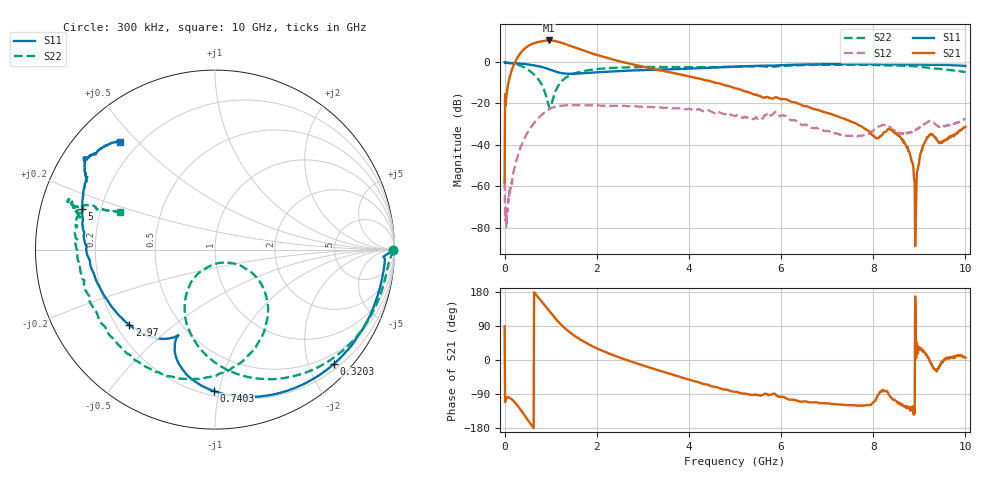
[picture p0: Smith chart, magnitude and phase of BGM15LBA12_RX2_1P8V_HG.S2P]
!Agilent Technologies,E5071C,MY46316587,B.13.01
!Date: Thu Dec 07 14:01:58 2017
!Data & Calibration Information:
!Freq	S11:SOLT2(ON)	S21:SOLT2(ON)	S12:SOLT2(ON)	S22:SOLT2(ON)
!PortZ  Port1:50+j0  Port2:50+j0
!Above PortZ is port z conversion or system Z0 setting when saving the data.
!When reading, reference impedance value at option line is always used.
# Hz S dB R 50
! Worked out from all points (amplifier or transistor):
!   1001 points, 300 kHz to 10 GHz, reference 50 ohm
!   highest |S21| = 10.4 dB at 970.3 MHz (marker M1)
!   |S21| within 3 dB of that: 489.4 MHz to 1.475 GHz (985.2 MHz wide, 100 % of centre)
!   unconditionally stable (mu >= 1): start of sweep to end of sweep
!   at 1.66 GHz: K = 1.42, MAG = 9.5 dB, |S12| = -20.9 dB
!   at 5 GHz: K = 7.20, MAG = -4.9 dB, |S12| = -25.9 dB
!   at 10 GHz: K = 103.83, MAG = -25.1 dB, |S12| = -27.4 dB
!   lowest NFmin = 1.08 dB at 700 MHz
!   S11 on the Smith chart (normalised r, x): 300 kHz: open; 320.3 MHz: 0.30, -2.44; 740.3 MHz: 0.23, -0.96; 2.97 GHz: 0.25, -0.36; 5 GHz: 0.13, +0.15; 10 GHz: 0.13, +0.45
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300000  -0.07 -0.3  -58.16 88.9  -57.82 -160.6  -0.06 -0.2
6.02982e7  -0.49 -8.9  -12.83 -98.7  -72.27 131.9  -0.36 -11.4
2.00294e8  -0.59 -28.1  -1.39 -109.0  -52.06 158.2  -0.79 -36.4
3.202904e8  -0.73 -44.0  3.53 -126.7  -42.87 159.0  -1.57 -57.3
5.00285e8  -1.15 -66.0  7.53 -157.8  -33.91 143.0  -3.62 -86.1
7.402778e8  -2.07 -90.5  9.69 163.6  -26.87 118.4  -8.58 -117.0
9.702709e8  -3.56 -107.9  10.37 129.2  -22.73 91.0  -21.82 -91.3
1.130266e9  -4.82 -113.0  9.90 105.7  -21.40 71.9  -12.89 -31.9
1.32026e9  -5.61 -113.4  8.60 82.6  -20.95 54.5  -7.72 -45.0
1.67025e9  -5.50 -114.3  5.83 52.0  -20.84 33.9  -4.58 -67.5
2.220233e9  -4.66 -121.9  1.97 19.3  -21.07 14.7  -3.01 -90.9
2.970211e9  -3.93 -138.7  -2.13 -13.1  -21.51 -4.3  -2.46 -113.3
3.3402e9  -3.69 -149.1  -3.83 -27.3  -21.89 -13.1  -2.42 -124.0
5.00015e9  -2.23 163.1  -12.62 -84.0  -25.88 -40.6  -2.32 -178.4
6.6701e9  -1.19 146.0  -22.41 -112.0  -31.84 -54.7  -1.43 161.1
8.070058e9  -1.06 144.5  -36.76 -101.0  -31.97 5.8  -1.47 162.2
8.34005e9  -1.17 144.9  -32.31 -91.3  -30.97 -21.3  -1.69 163.4
8.740038e9  -1.16 144.2  -41.49 -123.5  -34.12 1.0  -1.88 162.8
8.920032e9  -1.21 143.1  -74.91 120.6  -32.69 15.7  -2.13 161.9
9.050028e9  -1.25 142.4  -42.26 27.9  -30.77 18.3  -2.39 160.9
9.180025e9  -1.34 141.6  -36.40 7.1  -28.90 10.6  -2.75 160.2
1e10  -1.94 131.3  -31.26 6.0  -27.41 10.3  -4.85 158.4
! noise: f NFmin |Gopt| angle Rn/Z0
6.5e+08  1.152  0.5228  68.52  0.2755
7e+08  1.079  0.5481  70.57  0.2411
7.5e+08  1.103  0.4984  69.69  0.2396
8e+08  1.111  0.5097  74.12  0.226
8.5e+08  1.148  0.5039  80.82  0.2073
9e+08  1.136  0.5082  82.67  0.2154
9.5e+08  1.15  0.4774  83.61  0.2313
1e+09  1.169  0.434  85.9  0.2031
